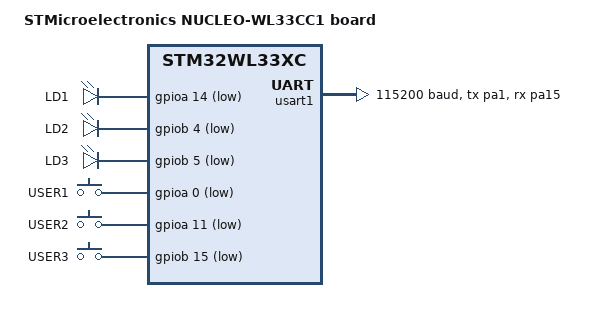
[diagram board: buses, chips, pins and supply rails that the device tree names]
/*
 * Copyright (c) 2026 Anders Frandsen <anfran@anfran.dk>
 *
 * SPDX-License-Identifier: Apache-2.0
 */

/dts-v1/;
#include <st/wl3/stm32wl33Xc.dtsi>
#include <st/wl3/stm32wl33ccvx-pinctrl.dtsi>
#include <zephyr/dt-bindings/input/input-event-codes.h>

/ {
	model = "STMicroelectronics NUCLEO-WL33CC1 board";
	compatible = "st,nucleo-wl33cc1";

	chosen {
		zephyr,console = &usart1;
		zephyr,shell-uart = &usart1;
		zephyr,sram = &sram0;
		zephyr,flash = &flash0;
	};

	leds: leds {
		compatible = "gpio-leds";

		blue_led_1: led_0 {
			gpios = <&gpioa 14 GPIO_ACTIVE_LOW>;   /* LD1 (blue), PA14 */
			label = "LD1";
		};

		green_led_1: led_1 {
			gpios = <&gpiob 4 GPIO_ACTIVE_LOW>;    /* LD2 (green), PB4 */
			label = "LD2";
		};

		red_led_1: led_2 {
			gpios = <&gpiob 5 GPIO_ACTIVE_LOW>;    /* LD3 (red), PB5 */
			label = "LD3";
		};
	};

	gpio_keys {
		compatible = "gpio-keys";

		user_button_1: button_0 {
			label = "USER1";
			gpios = <&gpioa 0 (GPIO_ACTIVE_LOW | GPIO_PULL_UP)>;    /* B1, PA0 */
			zephyr,code = <INPUT_KEY_0>;
		};

		user_button_2: button_1 {
			label = "USER2";
			gpios = <&gpioa 11 (GPIO_ACTIVE_LOW | GPIO_PULL_UP)>;   /* B2, PA11 */
			zephyr,code = <INPUT_KEY_1>;
		};

		user_button_3: button_2 {
			label = "USER3";
			gpios = <&gpiob 15 (GPIO_ACTIVE_LOW | GPIO_PULL_UP)>;   /* B3, PB15 */
			zephyr,code = <INPUT_KEY_2>;
		};
	};

	aliases {
		led0 = &blue_led_1;
		led1 = &green_led_1;
		led2 = &red_led_1;
		sw0 = &user_button_1;
		sw1 = &user_button_2;
		sw2 = &user_button_3;
	};
};

&clk_lse {
	status = "okay";
};

&clk_hse {
	status = "okay";
};

&clk_hsi {
	status = "okay";
};

&pll {
	status = "okay";
};

&rcc {
	clocks = <&pll>;
	clock-frequency = <DT_FREQ_M(64)>;
	clksys-prescaler = <1>;
	slow-clock = <&clk_lse>;
};

&usart1 {
	pinctrl-0 = <&usart1_tx_pa1 &usart1_rx_pa15>;
	pinctrl-names = "default";
	current-speed = <115200>;
	status = "okay";
};
